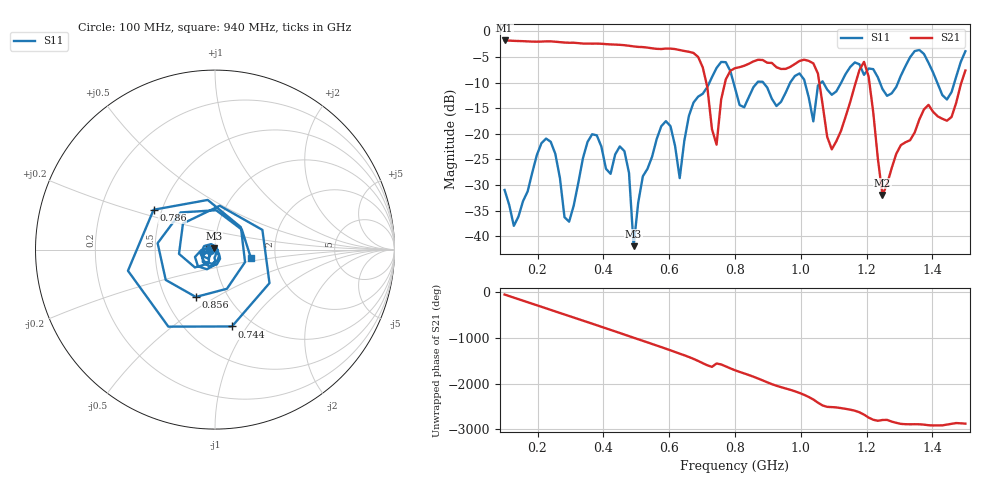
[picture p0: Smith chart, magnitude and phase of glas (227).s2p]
! NanoVNA-App
! Date: 2025-09-25 15:57:14
! Start: 100MHz Stop: 1,5GHz Points: 101
! S-Parameter data: F S11 S21 S12 S22
# Hz S RI R 50
!  Frequency  S11_Real  S11_Imag  S21_Real  S21_Imag  S12_Real  S12_Imag  S22_Real  S22_Imag
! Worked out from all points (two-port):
!   101 points, 100 MHz to 1.5 GHz, reference 50 ohm
!   highest |S21| = -1.80 dB at 100 MHz (marker M1); lowest = -31.9 dB at 1.248 GHz (marker M2)
!   |S21| within 3 dB of the highest: start of sweep to 684.1 MHz
!   lowest |S11| = -41.9 dB at 492 MHz (marker M3), VSWR 1.02, Z = 49.5 + j0.623 ohm
!   |S11| at or under -10 dB: start of sweep to 722.4 MHz; 795.4 MHz to 867.8 MHz (72.4 MHz wide, 8.71 % of centre); 885.8 MHz to 967.9 MHz (82.05 MHz wide, 8.85 % of centre) (the widest 3 of 7)
!   S12 and S22 are empty: the file has one direction only
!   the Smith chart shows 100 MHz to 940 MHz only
!   S11 on the Smith chart (normalised r, x): 100 MHz: 0.95, -0.01; 744 MHz: 0.81, -0.85; 786 MHz: 0.45, +0.24; 856 MHz: 0.71, -0.41; 940 MHz: 1.49, -0.15
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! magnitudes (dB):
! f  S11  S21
! 100 MHz  -30.9  -1.8
! 128 MHz  -37.9  -1.9
! 226 MHz  -20.9  -2.0
! 296 MHz  -37.1  -2.2
! 338 MHz  -24.7  -2.4
! 464 MHz  -23.4  -2.7
! 492 MHz  -41.9  -3.0
! 576 MHz  -18.5  -3.5
! 632 MHz  -28.6  -3.7
! 702 MHz  -12.2  -7.0
! 744 MHz  -7.2  -22.1
! 786 MHz  -7.8  -7.7
! 800 MHz  -11.1  -7.2
! 856 MHz  -10.9  -5.9
! 940 MHz  -13.8  -7.4
! 996 MHz  -8.2  -5.8
! 1.038 GHz  -17.6  -6.3
! 1.094 GHz  -12.4  -23.0
! 1.192 GHz  -8.5  -6.0
! 1.248 GHz  -11.3  -31.9
! 1.276 GHz  -12.1  -26.7
! 1.5 GHz  -3.9  -7.7
